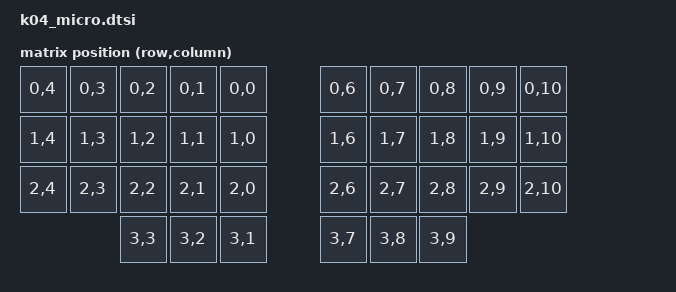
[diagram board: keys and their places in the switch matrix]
#include <dt-bindings/zmk/matrix_transform.h>
#include <dt-bindings/pinctrl/nrf-pinctrl.h>
#include <zephyr/dt-bindings/input/input-event-codes.h>
#include "k04_micro_layout.dtsi"
#include <zephyr/dt-bindings/led/led.h>
#include <behaviors/rgbled_widget.dtsi>

/ {
    chosen {
      zmk,kscan = &kscan0;
      zmk,physical-layout = &physical_layout;
      zmk,battery = &vbatt;
    };
    
    default_transform: keymap_transform_0 {
      compatible = "zmk,matrix-transform";
      columns = <12>;
      rows = <4>;
      map = <
RC(0,4) RC(0,3) RC(0,2) RC(0,1) RC(0,0)    RC(0,6) RC(0,7) RC(0,8) RC(0,9) RC(0,10)
RC(1,4) RC(1,3) RC(1,2) RC(1,1) RC(1,0)    RC(1,6) RC(1,7) RC(1,8) RC(1,9) RC(1,10)
RC(2,4) RC(2,3) RC(2,2) RC(2,1) RC(2,0)    RC(2,6) RC(2,7) RC(2,8) RC(2,9) RC(2,10)
                RC(3,3) RC(3,2) RC(3,1)    RC(3,7) RC(3,8) RC(3,9)
      >;
    };

    kscan0: kscan {
      /* col2row — ПОДТВЕРЖДЕНО, не догадка. Два независимых доказательства:
         1) в rmk-eh/keyboards/k04_micro/src/deep_sleep.rs колонки объявлены
            как COL_OUTPUT_PINS (= выходы), ряды как ROW_WAKE_PINS (= входы);
            в матрице RMK OUTPUT_PIN_NUM = COL ровно при COL2ROW = true;
         2) у op36 то же соответствие пинов, и рабочий ZMK-шилд использует
            col2row с PULL_DOWN на row-gpios. */
      diode-direction = "col2row";
      wakeup-source;
    };

    vbatt: vbatt {
        status = "okay";
        compatible = "zmk,battery-voltage-divider";
        io-channels = <&adc 7>;
        output-ohms = <1564000>;
        full-ohms = <(636000 + 1564000)>;
    };

    trackball_listener: trackball_listener {
        compatible = "zmk,input-listener";
        status = "disabled";
    };
};

/*
 * K04 Micro разводит трекбол на ДРУГИЕ пины, чем остальные платы Ergohaven:
 *   sck  = P0_01   (у прочих — P0_08)
 *   sdio = P0_00   (общий MOSI/MISO, у прочих — P0_17)
 *   cs   = P0_05   (у прочих — P0_13)
 *   irq  = P1_09   (у прочих — P0_15)
 * Поэтому дефолтный pinctrl платы (boards/arm/ergohaven/ergohaven-pinctrl.dtsi)
 * здесь переопределяется. Это безопасно: P0.00/P0.01 на nRF52840 — пины
 * кварца XL1/XL2, НО плата ergohaven собрана с CONFIG_CLOCK_CONTROL_NRF_K32SRC_RC
 * (внутренний RC-генератор), внешнего 32 кГц кварца нет — пины свободны.
 */
&spi0_default {
    group1 {
        psels = <NRF_PSEL(SPIM_SCK, 0, 1)>,
                <NRF_PSEL(SPIM_MOSI, 0, 0)>,
                <NRF_PSEL(SPIM_MISO, 0, 0)>;
    };
};

&spi0_sleep {
    group1 {
        psels = <NRF_PSEL(SPIM_SCK, 0, 1)>,
                <NRF_PSEL(SPIM_MOSI, 0, 0)>,
                <NRF_PSEL(SPIM_MISO, 0, 0)>;
        low-power-enable;
        bias-pull-up;
    };
};

&spi0 {
    status = "disabled";
    cs-gpios = <&gpio0 5 GPIO_ACTIVE_LOW>;

    trackball: trackball@0 {
        status = "disabled";
        compatible = "pixart,pmw3610-alt";
        reg = <0>;
        spi-max-frequency = <2000000>;
        irq-gpios = <&gpio1 9 (GPIO_ACTIVE_LOW | GPIO_PULL_UP)>;
        cpi = <1000>;
        swap-xy;
        evt-type = <INPUT_EV_REL>;
        x-input-code = <INPUT_REL_X>;
        y-input-code = <INPUT_REL_Y>;
    };
};

/* Узел leds платы ergohaven сидит на P1.10 — у K:04 Micro это row-gpio.
   Драйвер led_gpio по умолчанию не собирается, но узел лучше погасить явно. */
/ {
    leds {
        status = "disabled";
    };
};

/*
 * WS2812-совместимый диод, один на половину, data на P0.30.
 * Пин подтверждён по RMK: rmk/keyboards/k04/src/{central,left,right,
 * peripheral}.rs — во всех четырёх ролях
 *     SequencePwm::new_1ch(p.PWM0, p.P0_30, config)
 * Порядок байт GRB — из send_color() в layer_led.rs, где буфер [g, r, b].
 *
 * ВАЖНО: используется SPI-бэкенд, а не GPIO. В Zephyr 3.5 (который тянет
 * ZMK v0.3.0) драйвер ws2812_gpio объявлен как
 *     config WS2812_STRIP_GPIO
 *         depends on SOC_SERIES_NRF51X
 * то есть на nRF52840 его включить нельзя — Kconfig просто не даст.
 *
 * spi1 выбран сознательно, не spi3: у SPIM3 на nRF52840 есть известная
 * аномалия с повышенным током покоя после передачи, а для батарейной
 * половины это лишний риск. spi1 — обычный SPIM, максимум 8 МГц, нам
 * нужно 4 МГц. Плата его нигде не занимает (i2c0 сидит на TWI0, трекбол
 * на spi0).
 */
&pinctrl {
    spi1_default: spi1_default {
        group1 {
            /* SCK не выводится наружу: для WS2812 нужен только MOSI, а
               драйвер spi_nrfx_spim корректно обрабатывает
               nrfy_spim_sck_pin_get() < 0. Это экономит свободный пин и
               убирает паразитные 4 МГц на плате. */
            psels = <NRF_PSEL(SPIM_MOSI, 0, 30)>,
                    <NRF_PSEL_DISCONNECTED(SPIM_SCK)>;
        };
    };

    spi1_sleep: spi1_sleep {
        group1 {
            psels = <NRF_PSEL(SPIM_MOSI, 0, 30)>,
                    <NRF_PSEL_DISCONNECTED(SPIM_SCK)>;
            low-power-enable;
        };
    };
};

&spi1 {
    status = "okay";
    compatible = "nordic,nrf-spim";
    pinctrl-0 = <&spi1_default>;
    pinctrl-1 = <&spi1_sleep>;
    pinctrl-names = "default", "sleep";

    led_strip: ws2812@0 {
        compatible = "worldsemi,ws2812-spi";
        reg = <0>;

        /* Тайминг. На 4 МГц один бит SPI = 250 нс.
           spi-zero-frame 0x40 = 0b01000000 -> T0H 250 нс (спек 200-500)
           spi-one-frame  0x70 = 0b01110000 -> T1H 750 нс (спек 550-850)
           Период байта 2 мкс против номинальных 1.25 мкс — WS2812 это
           терпит, порог сброса ~50 мкс. Это же сочетание используется в
           штатных примерах Zephyr.
           4 МГц — валидная частота SPIM на nRF52840 (ряд дискретный:
           125k/250k/500k/1M/2M/4M/8M). */
        spi-max-frequency = <4000000>;
        spi-one-frame = <0x70>;
        spi-zero-frame = <0x40>;

        chain-length = <1>;
        color-mapping = <LED_COLOR_ID_GREEN
                         LED_COLOR_ID_RED
                         LED_COLOR_ID_BLUE>;
        reset-delay = <280>;
    };
};

/ {
    aliases {
        led-strip = &led_strip;
    };
};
